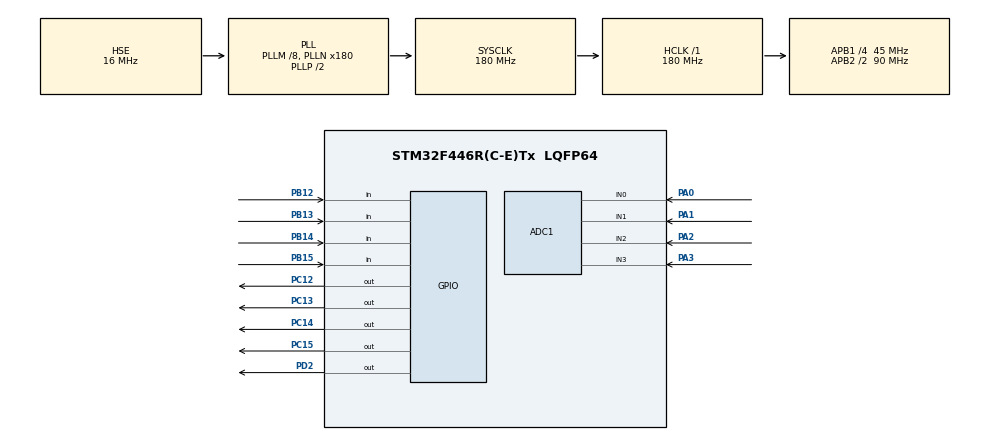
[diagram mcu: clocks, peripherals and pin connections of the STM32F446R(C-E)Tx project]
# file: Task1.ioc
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ADC1.Channel-0\#ChannelRegularConversion=ADC_CHANNEL_0
ADC1.Channel-1\#ChannelRegularConversion=ADC_CHANNEL_1
ADC1.Channel-2\#ChannelRegularConversion=ADC_CHANNEL_2
ADC1.Channel-3\#ChannelRegularConversion=ADC_CHANNEL_3
ADC1.DMAContinuousRequests=ENABLE
ADC1.ExternalTrigConv=ADC_EXTERNALTRIGCONV_T8_TRGO
ADC1.NbrOfConversion=4
ADC1.NbrOfConversionFlag=1
ADC1.Rank-0\#ChannelRegularConversion=1
ADC1.Rank-1\#ChannelRegularConversion=2
ADC1.Rank-2\#ChannelRegularConversion=3
ADC1.Rank-3\#ChannelRegularConversion=4
ADC1.SamplingTime-0\#ChannelRegularConversion=ADC_SAMPLETIME_15CYCLES
ADC1.SamplingTime-1\#ChannelRegularConversion=ADC_SAMPLETIME_15CYCLES
ADC1.SamplingTime-2\#ChannelRegularConversion=ADC_SAMPLETIME_15CYCLES
ADC1.SamplingTime-3\#ChannelRegularConversion=ADC_SAMPLETIME_15CYCLES
ADC1.ScanConvMode=ENABLE
ADC1.master=1
Dma.ADC1.0.Direction=DMA_PERIPH_TO_MEMORY
Dma.ADC1.0.FIFOMode=DMA_FIFOMODE_DISABLE
Dma.ADC1.0.Instance=DMA2_Stream0
Dma.ADC1.0.MemDataAlignment=DMA_MDATAALIGN_WORD
Dma.ADC1.0.MemInc=DMA_MINC_ENABLE
Dma.ADC1.0.Mode=DMA_CIRCULAR
Dma.ADC1.0.PeriphDataAlignment=DMA_PDATAALIGN_WORD
Dma.ADC1.0.PeriphInc=DMA_PINC_DISABLE
Dma.ADC1.0.Priority=DMA_PRIORITY_LOW
Dma.Request0=ADC1
Mcu.Family=STM32F4
Mcu.Name=STM32F446R(C-E)Tx
Mcu.Package=LQFP64
NVIC.ADC_IRQn=true\:0\:0\:false\:false\:true\:true\:true\:true
NVIC.DMA2_Stream0_IRQn=true\:0\:0\:false\:false\:true\:false\:true\:true
NVIC.PriorityGroup=NVIC_PRIORITYGROUP_4
NVIC.TIM8_UP_TIM13_IRQn=true\:0\:0\:false\:false\:true\:true\:true\:true
PA0-WKUP.Signal=ADCx_IN0
PA1.Signal=ADCx_IN1
PA13.Mode=Serial_Wire
PA13.Signal=SYS_JTMS-SWDIO
PA14.Mode=Serial_Wire
PA14.Signal=SYS_JTCK-SWCLK
PA2.Signal=ADCx_IN2
PA3.Signal=ADCx_IN3
PB12.Signal=GPIO_Input
PB13.Signal=GPIO_Input
PB14.Signal=GPIO_Input
PB15.Signal=GPIO_Input
PC12.Signal=GPIO_Output
PC13.Signal=GPIO_Output
PC14-OSC32_IN.Signal=GPIO_Output
PC15-OSC32_OUT.Signal=GPIO_Output
PD2.Signal=GPIO_Output
PH0-OSC_IN.Mode=HSE-External-Oscillator
PH0-OSC_IN.Signal=RCC_OSC_IN
PH1-OSC_OUT.Mode=HSE-External-Oscillator
PH1-OSC_OUT.Signal=RCC_OSC_OUT
ProjectManager.HeapSize=0x200
ProjectManager.StackSize=0x400
ProjectManager.TargetToolchain=STM32CubeIDE
RCC.AHBFreq_Value=180000000
RCC.APB1CLKDivider=RCC_HCLK_DIV4
RCC.APB1Freq_Value=45000000
RCC.APB1TimFreq_Value=90000000
RCC.APB2CLKDivider=RCC_HCLK_DIV2
RCC.APB2Freq_Value=90000000
RCC.APB2TimFreq_Value=180000000
RCC.CortexFreq_Value=180000000
RCC.HCLKFreq_Value=180000000
RCC.HSE_VALUE=16000000
RCC.PLLM=8
RCC.PLLN=180
RCC.PLLSourceVirtual=RCC_PLLSOURCE_HSE
RCC.SYSCLKFreq_VALUE=180000000
RCC.SYSCLKSource=RCC_SYSCLKSOURCE_PLLCLK
RCC.USBFreq_Value=180000000
RCC.VCOOutputFreq_Value=360000000
SH.ADCx_IN0.0=ADC1_IN0,IN0
SH.ADCx_IN1.0=ADC1_IN1,IN1
SH.ADCx_IN2.0=ADC1_IN2,IN2
SH.ADCx_IN3.0=ADC1_IN3,IN3
TIM8.Period=10000-1
TIM8.Prescaler=180-1
TIM8.TIM_MasterOutputTrigger=TIM_TRGO_UPDATE
VP_TIM8_VS_ClockSourceINT.Mode=Internal
board=custom

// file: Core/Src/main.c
/* USER CODE BEGIN Header */
/**
  ******************************************************************************
  * @file           : main.c
  * @brief          : Main program body
  ******************************************************************************
  * @attention
  *
  * Copyright (c) 2024 STMicroelectronics.
  * All rights reserved.
  *
  * This software is licensed under terms that can be found in the LICENSE file
  * in the root directory of this software component.
  * If no LICENSE file comes with this software, it is provided AS-IS.
  *
  ******************************************************************************
  */
/* USER CODE END Header */
#include "main.h"
#include "adc.h"
#include "dma.h"
#include "tim.h"
#include "gpio.h"

/* USER CODE BEGIN Includes */
#include <stdbool.h>
/* USER CODE END Includes */

/* USER CODE BEGIN PV */

uint8_t ledCnt = 0;
uint8_t lastLedCnt = 0;
int pd2Cnt = 0;
bool isSwitch12Down = false;
bool isSwitch13Down = false;
bool isSwitch14Down = false;
bool isSwitch15Down = false;

/* USER CODE END PV */

void SystemClock_Config(void);

int main(void)
{

  /* MCU Configuration--------------------------------------------------------*/

  /* Reset of all peripherals, Initializes the Flash interface and the Systick. */
	HAL_Init();

  /* Configure the system clock */
  SystemClock_Config();

  /* Initialize all configured peripherals */
  MX_GPIO_Init();
  MX_DMA_Init();
  MX_ADC1_Init();
  MX_TIM8_Init();

  /* Infinite loop */
  while (1)
  {

    /* USER CODE BEGIN 3 */

	  /* Task1-1 (PD2 LED TOGGLE)*/

	  // Switch(PB12) is Down:

	  // Switch(PB15) is Up:
	  if((HAL_GPIO_ReadPin(GPIOB, GPIO_PIN_15))){
		  isSwitch15Down = false;
		  pd2Cnt = 0;
	  }

	  if(isSwitch15Down == false){
		  HAL_GPIO_WritePin(GPIOD, GPIO_PIN_2, 1);

		  HAL_Delay(1000);
		  if(!HAL_GPIO_ReadPin(GPIOB, GPIO_PIN_15)){
			  if(pd2Cnt == 2){
				  HAL_GPIO_WritePin(GPIOD, GPIO_PIN_2, 0);

				  HAL_Delay(1000);
			  }else{
				  isSwitch15Down = true;
				  pd2Cnt = 1;
			  }
		  }else{
			  HAL_GPIO_WritePin(GPIOD, GPIO_PIN_2, 0);

			  HAL_Delay(1000);
			  if(!HAL_GPIO_ReadPin(GPIOB, GPIO_PIN_15) && (isSwitch15Down == false)){
				  isSwitch15Down = true;
				  pd2Cnt = 2;
			  }
		  }

	  }

	  /* Task1-6 (PB15) Toggle Pause */
	  if(isSwitch15Down == true){
		  if(pd2Cnt == 1){
			  HAL_GPIO_WritePin(GPIOD, GPIO_PIN_2, 1);
		  }else if(pd2Cnt == 2){
			  HAL_GPIO_WritePin(GPIOD, GPIO_PIN_2, 0);
		  }
		  HAL_Delay(2000);
	  }

	  if(!(HAL_GPIO_ReadPin(GPIOB, GPIO_PIN_13))){
		  isSwitch13Down = true;
	  }else{
		  isSwitch13Down = false;
	  }

	  if(!(HAL_GPIO_ReadPin(GPIOB, GPIO_PIN_14))){
		  isSwitch14Down = true;
	  }else{
		  isSwitch14Down = false;
	  }

	  if(!(HAL_GPIO_ReadPin(GPIOB, GPIO_PIN_12))){
		  Turning_LED_Right();
		  if(ledCnt == 0){
			  ledCnt = 3;
		  }else if(ledCnt == 3){
			  ledCnt = 2;
		  }else if(ledCnt == 2){
			  ledCnt = 1;
		  }else if(ledCnt == 1){
			  ledCnt = 0;
		  }
	  }else{
		  Turning_LED_Left();
		  if(ledCnt == 0){
			  ledCnt = 1;
		  }else if(ledCnt == 1){
			  ledCnt = 2;
		  }else if(ledCnt == 2){
			  ledCnt = 3;
		  }else if(ledCnt == 3){
			  ledCnt = 0;
		  }
	  }

  }
  /* USER CODE END 3 */
}

void SystemClock_Config(void)
{
  RCC_OscInitTypeDef RCC_OscInitStruct = {0};
  RCC_ClkInitTypeDef RCC_ClkInitStruct = {0};

  /** Configure the main internal regulator output voltage
  */
  __HAL_RCC_PWR_CLK_ENABLE();
  __HAL_PWR_VOLTAGESCALING_CONFIG(PWR_REGULATOR_VOLTAGE_SCALE1);

  /** Initializes the RCC Oscillators according to the specified parameters
  * in the RCC_OscInitTypeDef structure.
  */
  RCC_OscInitStruct.OscillatorType = RCC_OSCILLATORTYPE_HSE;
  RCC_OscInitStruct.HSEState = RCC_HSE_ON;
  RCC_OscInitStruct.PLL.PLLState = RCC_PLL_ON;
  RCC_OscInitStruct.PLL.PLLSource = RCC_PLLSOURCE_HSE;
  RCC_OscInitStruct.PLL.PLLM = 8;
  RCC_OscInitStruct.PLL.PLLN = 180;
  RCC_OscInitStruct.PLL.PLLP = RCC_PLLP_DIV2;
  RCC_OscInitStruct.PLL.PLLQ = 2;
  RCC_OscInitStruct.PLL.PLLR = 2;
  if (HAL_RCC_OscConfig(&RCC_OscInitStruct) != HAL_OK)
  {
    Error_Handler();
  }

  /** Activate the Over-Drive mode
  */
  if (HAL_PWREx_EnableOverDrive() != HAL_OK)
  {
    Error_Handler();
  }

  /** Initializes the CPU, AHB and APB buses clocks
  */
  RCC_ClkInitStruct.ClockType = RCC_CLOCKTYPE_HCLK|RCC_CLOCKTYPE_SYSCLK
                              |RCC_CLOCKTYPE_PCLK1|RCC_CLOCKTYPE_PCLK2;
  RCC_ClkInitStruct.SYSCLKSource = RCC_SYSCLKSOURCE_PLLCLK;
  RCC_ClkInitStruct.AHBCLKDivider = RCC_SYSCLK_DIV1;
  RCC_ClkInitStruct.APB1CLKDivider = RCC_HCLK_DIV4;
  RCC_ClkInitStruct.APB2CLKDivider = RCC_HCLK_DIV2;

  if (HAL_RCC_ClockConfig(&RCC_ClkInitStruct, FLASH_LATENCY_5) != HAL_OK)
  {
    Error_Handler();
  }
}

/* USER CODE BEGIN 4 */

void Turning_LED_Left(void){

	if(isSwitch14Down == false){
		if(isSwitch13Down == false){
			// Turn Off: All LED
			HAL_GPIO_WritePin(GPIOC, GPIO_PIN_12, 1);
			HAL_GPIO_WritePin(GPIOC, GPIO_PIN_13, 1);
			HAL_GPIO_WritePin(GPIOC, GPIO_PIN_14, 1);
			HAL_GPIO_WritePin(GPIOC, GPIO_PIN_15, 1);

			// When PC12 is On
			if(ledCnt == 0){
				// Turn On: LED PC12
				HAL_GPIO_WritePin(GPIOC, GPIO_PIN_12, 0);
			}else if(ledCnt == 1){
				// Turn On: LED PC13
				HAL_GPIO_WritePin(GPIOC, GPIO_PIN_13, 0);
			}else if(ledCnt == 2){
				// Turn On: LED PC14
				HAL_GPIO_WritePin(GPIOC, GPIO_PIN_14, 0);
			}else if(ledCnt == 3){
				// Turn On: LED PC15
				HAL_GPIO_WritePin(GPIOC, GPIO_PIN_15, 0);
			}
		}else if(isSwitch13Down == true){
			// Turn Off: All LED
			HAL_GPIO_WritePin(GPIOC, GPIO_PIN_12, 0);
			HAL_GPIO_WritePin(GPIOC, GPIO_PIN_13, 0);
			HAL_GPIO_WritePin(GPIOC, GPIO_PIN_14, 0);
			HAL_GPIO_WritePin(GPIOC, GPIO_PIN_15, 0);

			// When PC12 is On
			if(ledCnt == 0){
				// Turn On: LED PC12
				HAL_GPIO_WritePin(GPIOC, GPIO_PIN_12, 1);
			}else if(ledCnt == 1){
				// Turn On: LED PC13
				HAL_GPIO_WritePin(GPIOC, GPIO_PIN_13, 1);
			}else if(ledCnt == 2){
				// Turn On: LED PC14
				HAL_GPIO_WritePin(GPIOC, GPIO_PIN_14, 1);
			}else if(ledCnt == 3){
				// Turn On: LED PC15
				HAL_GPIO_WritePin(GPIOC, GPIO_PIN_15, 1);
			}
		}

	}else if(isSwitch14Down == true){

		if(isSwitch13Down == false){
			// Turn Off: All LED
			HAL_GPIO_WritePin(GPIOC, GPIO_PIN_12, 1);
			HAL_GPIO_WritePin(GPIOC, GPIO_PIN_13, 1);
			HAL_GPIO_WritePin(GPIOC, GPIO_PIN_14, 1);
			HAL_GPIO_WritePin(GPIOC, GPIO_PIN_15, 1);

			// When PC12 is On
			if(ledCnt == 0){
				// Turn On: LED PC12
				HAL_GPIO_WritePin(GPIOC, GPIO_PIN_12, 0);
				HAL_GPIO_WritePin(GPIOC, GPIO_PIN_13, 0);
			}else if(ledCnt == 1){
				// Turn On: LED PC13
				HAL_GPIO_WritePin(GPIOC, GPIO_PIN_13, 0);
				HAL_GPIO_WritePin(GPIOC, GPIO_PIN_14, 0);
			}else if(ledCnt == 2){
				// Turn On: LED PC14
				HAL_GPIO_WritePin(GPIOC, GPIO_PIN_14, 0);
				HAL_GPIO_WritePin(GPIOC, GPIO_PIN_15, 0);
			}else if(ledCnt == 3){
				// Turn On: LED PC15
				HAL_GPIO_WritePin(GPIOC, GPIO_PIN_15, 0);
				HAL_GPIO_WritePin(GPIOC, GPIO_PIN_12, 0);
			}
		}else if(isSwitch13Down == true){
			// Turn Off: All LED
			HAL_GPIO_WritePin(GPIOC, GPIO_PIN_12, 0);
			HAL_GPIO_WritePin(GPIOC, GPIO_PIN_13, 0);
			HAL_GPIO_WritePin(GPIOC, GPIO_PIN_14, 0);
			HAL_GPIO_WritePin(GPIOC, GPIO_PIN_15, 0);

			// When PC12 is On
			if(ledCnt == 0){
				// Turn On: LED PC12
				HAL_GPIO_WritePin(GPIOC, GPIO_PIN_12, 1);
				HAL_GPIO_WritePin(GPIOC, GPIO_PIN_13, 1);
			}else if(ledCnt == 1){
				// Turn On: LED PC13
				HAL_GPIO_WritePin(GPIOC, GPIO_PIN_13, 1);
				HAL_GPIO_WritePin(GPIOC, GPIO_PIN_14, 1);
			}else if(ledCnt == 2){
				// Turn On: LED PC14
				HAL_GPIO_WritePin(GPIOC, GPIO_PIN_14, 1);
				HAL_GPIO_WritePin(GPIOC, GPIO_PIN_15, 1);
			}else if(ledCnt == 3){
				// Turn On: LED PC15
				HAL_GPIO_WritePin(GPIOC, GPIO_PIN_15, 1);
				HAL_GPIO_WritePin(GPIOC, GPIO_PIN_12, 1);
			}
		}

	}

}

void Turning_LED_Right(void){

	if(isSwitch14Down == false){

		if(isSwitch13Down == false){

			// Turn Off: All LED
			HAL_GPIO_WritePin(GPIOC, GPIO_PIN_12, 1);
			HAL_GPIO_WritePin(GPIOC, GPIO_PIN_13, 1);
			HAL_GPIO_WritePin(GPIOC, GPIO_PIN_14, 1);
			HAL_GPIO_WritePin(GPIOC, GPIO_PIN_15, 1);

			// When PC12 is On
			if(ledCnt == 3){
				// Turn On: LED PC15
				HAL_GPIO_WritePin(GPIOC, GPIO_PIN_15, 0);
			}else if(ledCnt == 2){
				// Turn On: LED PC14
				HAL_GPIO_WritePin(GPIOC, GPIO_PIN_14, 0);
			}else if(ledCnt == 1){
				// Turn On: LED PC13
				HAL_GPIO_WritePin(GPIOC, GPIO_PIN_13, 0);
			}else if(ledCnt == 0){
				// Turn On: LED PC12
				HAL_GPIO_WritePin(GPIOC, GPIO_PIN_12, 0);
			}
		}else if(isSwitch13Down == true){

			// Turn Off: All LED
			HAL_GPIO_WritePin(GPIOC, GPIO_PIN_12, 0);
			HAL_GPIO_WritePin(GPIOC, GPIO_PIN_13, 0);
			HAL_GPIO_WritePin(GPIOC, GPIO_PIN_14, 0);
			HAL_GPIO_WritePin(GPIOC, GPIO_PIN_15, 0);

			// When PC12 is On
			if(ledCnt == 3){
				// Turn On: LED PC15
				HAL_GPIO_WritePin(GPIOC, GPIO_PIN_15, 1);
			}else if(ledCnt == 2){
				// Turn On: LED PC14
				HAL_GPIO_WritePin(GPIOC, GPIO_PIN_14, 1);
			}else if(ledCnt == 1){
				// Turn On: LED PC13
				HAL_GPIO_WritePin(GPIOC, GPIO_PIN_13, 1);
			}else if(ledCnt == 0){
				// Turn On: LED PC12
				HAL_GPIO_WritePin(GPIOC, GPIO_PIN_12, 1);
			}
		}
	}else if(isSwitch14Down == true){

		if(isSwitch13Down == false){

			// Turn Off: All LED
			HAL_GPIO_WritePin(GPIOC, GPIO_PIN_12, 1);
			HAL_GPIO_WritePin(GPIOC, GPIO_PIN_13, 1);
			HAL_GPIO_WritePin(GPIOC, GPIO_PIN_14, 1);
			HAL_GPIO_WritePin(GPIOC, GPIO_PIN_15, 1);

			// When PC12 is On
			if(ledCnt == 3){
				// Turn On: LED PC15
				HAL_GPIO_WritePin(GPIOC, GPIO_PIN_15, 0);
				HAL_GPIO_WritePin(GPIOC, GPIO_PIN_14, 0);
			}else if(ledCnt == 2){
				// Turn On: LED PC14
				HAL_GPIO_WritePin(GPIOC, GPIO_PIN_14, 0);
				HAL_GPIO_WritePin(GPIOC, GPIO_PIN_13, 0);
			}else if(ledCnt == 1){
				// Turn On: LED PC13
				HAL_GPIO_WritePin(GPIOC, GPIO_PIN_13, 0);
				HAL_GPIO_WritePin(GPIOC, GPIO_PIN_12, 0);
			}else if(ledCnt == 0){
				// Turn On: LED PC12
				HAL_GPIO_WritePin(GPIOC, GPIO_PIN_12, 0);
				HAL_GPIO_WritePin(GPIOC, GPIO_PIN_15, 0);
			}
		}else if(isSwitch13Down == true){

			// Turn Off: All LED
			HAL_GPIO_WritePin(GPIOC, GPIO_PIN_12, 0);
			HAL_GPIO_WritePin(GPIOC, GPIO_PIN_13, 0);
			HAL_GPIO_WritePin(GPIOC, GPIO_PIN_14, 0);
			HAL_GPIO_WritePin(GPIOC, GPIO_PIN_15, 0);

			// When PC12 is On
			if(ledCnt == 3){
				// Turn On: LED PC15
				HAL_GPIO_WritePin(GPIOC, GPIO_PIN_15, 1);
				HAL_GPIO_WritePin(GPIOC, GPIO_PIN_14, 1);
			}else if(ledCnt == 2){
				// Turn On: LED PC14
				HAL_GPIO_WritePin(GPIOC, GPIO_PIN_14, 1);
				HAL_GPIO_WritePin(GPIOC, GPIO_PIN_13, 1);
			}else if(ledCnt == 1){
				// Turn On: LED PC13
				HAL_GPIO_WritePin(GPIOC, GPIO_PIN_13, 1);
				HAL_GPIO_WritePin(GPIOC, GPIO_PIN_12, 1);
			}else if(ledCnt == 0){
				// Turn On: LED PC12
				HAL_GPIO_WritePin(GPIOC, GPIO_PIN_12, 1);
				HAL_GPIO_WritePin(GPIOC, GPIO_PIN_15, 1);
			}
		}

	}

}

/* USER CODE END 4 */

void Error_Handler(void)
{
  __disable_irq();
  while (1)
  {
  }
}
